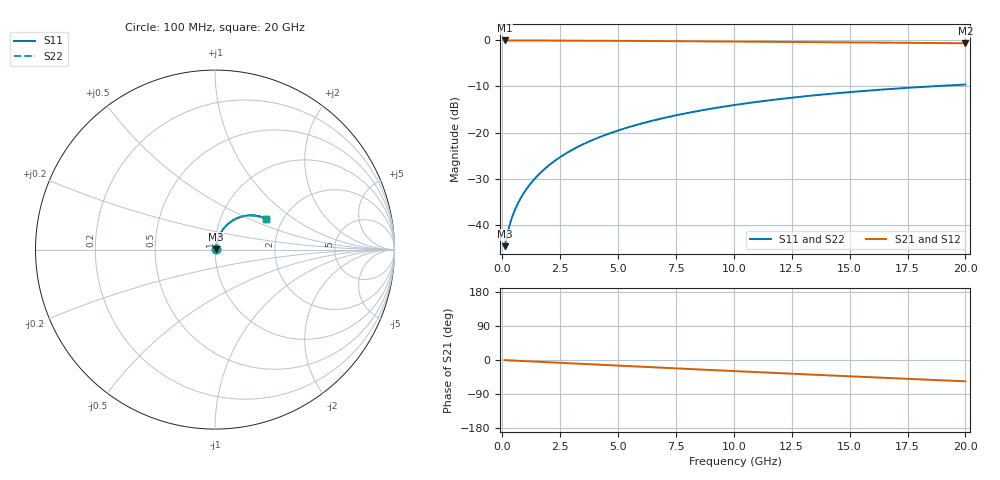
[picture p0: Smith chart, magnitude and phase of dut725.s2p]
! Touchstone file exported from HFSS 2026.1.0
!  File:  C:/ffzhzh/LocalFiles/Ansys_Project_Files/temp_train_TMRDL_725_1783154840_51560.aedt
!  Generated:  04:48:41 PM Jul  4, 2026
!  Design:  TMRDL
!  Project:  temp_train_TMRDL_725_1783154840_51560
! Variables:
!  h_bsmrdl = 2um
!  h_ox = 20um
!  h_rdl = 5um
!  h_sub = 80um
!  h_tmrdl = 2.56um
!  h_tsv = 80um
!  h_via = 3um
!  l_bsmrdl = 300um
!  l_sub = 1328.03um
!  l_tmrdl = 928.03um
!  m_sub = 200um
!  pitch = 40.37um
!  r_tsv = 6um
!  s_tmrdl = 10um
!  w_bsmrdl = 18um
!  w_sub = 500um
!  w_tmrdl = 25.9um
!  x_tsv_center1 = 940.98um
!  x_tsv_center2 = 1258.98um
!  x_tsv_center3 = 2212.91um
!  x_tsv_center4 = 2530.91um
!  x_tsv_center5 = 3484.84um
!  x_tsv_center6 = 3802.84um
# GHz S MA R 50.000000
! Terminal data exported
! Port[1] = TM_RDL1_1_T1
! Port[2] = TM_RDL1_1_T2
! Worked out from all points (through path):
!   200 points, 100 MHz to 20 GHz, reference 50 ohm
!   highest |S21| = -0.05 dB at 100 MHz (marker M1); lowest = -0.7 dB at 20 GHz (marker M2)
!   group delay of S21, straight-line fit = 7.81 ps
!   lowest |S11| = -44.6 dB at 100 MHz (marker M3), VSWR 1.01, Z = 50.5 + j0.267 ohm
!   |S11| at or under -10 dB: start of sweep to 18.51 GHz
!   |S22| runs from -44.6 to -9.6 dB; largest |S21 - S12| = 3e-15
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0.1  0.005885 26.7  0.9948 -0.3  0.9948 -0.3  0.005885 26.7
! Gamma 0 0 0 0
! Port Impedance 50 0 50 0
0.3  0.00962 51.3  0.9941 -1.0  0.9941 -1.0  0.00962 51.3
0.4  0.01166 56.4  0.9937 -1.3  0.9937 -1.3  0.01166 56.4
0.5  0.01366 59.9  0.9934 -1.6  0.9934 -1.6  0.01366 59.9
0.6  0.01564 62.6  0.9932 -1.9  0.9932 -1.9  0.01564 62.6
0.8  0.01958 66.3  0.9928 -2.5  0.9928 -2.5  0.01958 66.3
1  0.02355 68.9  0.9925 -3.0  0.9925 -3.0  0.02355 68.9
1.2  0.02757 70.7  0.9922 -3.6  0.9922 -3.6  0.02757 70.7
1.4  0.03162 71.9  0.992 -4.2  0.992 -4.2  0.03162 71.9
1.7  0.03776 73.1  0.9916 -5.1  0.9916 -5.1  0.03776 73.1
2.2  0.04807 73.9  0.991 -6.6  0.991 -6.6  0.04807 73.9
2.8  0.06048 73.9  0.9901 -8.4  0.9901 -8.4  0.06048 73.9
3.5  0.07492 73.1  0.9888 -10.4  0.9888 -10.4  0.07492 73.1
4.2  0.08923 71.9  0.9873 -12.5  0.9873 -12.5  0.08923 71.9
5  0.1054 70.2  0.9853 -14.9  0.9853 -14.9  0.1054 70.2
5.9  0.1232 68.0  0.9828 -17.5  0.9828 -17.5  0.1232 68.1
6.8  0.1406 65.8  0.98 -20.1  0.98 -20.1  0.1406 65.8
8.3  0.1685 61.8  0.9747 -24.4  0.9747 -24.4  0.1685 61.9
10.1  0.2001 57.0  0.9678 -29.5  0.9678 -29.5  0.2001 57.1
13.4  0.2521 48.2  0.954 -38.7  0.954 -38.7  0.2521 48.3
16.7  0.2958 39.6  0.9403 -47.6  0.9403 -47.6  0.2958 39.7
20  0.3311 31.2  0.9278 -56.3  0.9278 -56.3  0.3312 31.3
